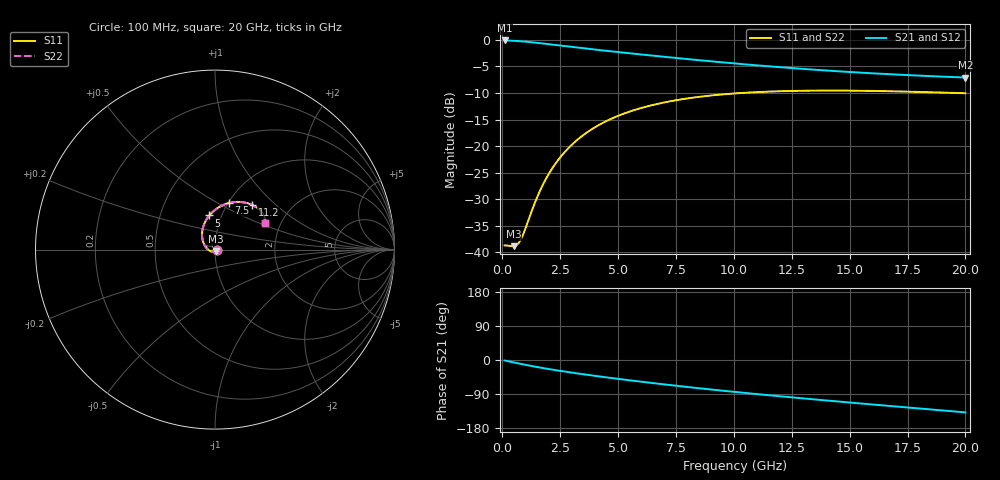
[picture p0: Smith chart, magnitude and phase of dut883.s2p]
! Touchstone file exported from HFSS 2024.1.0
!  File:  C:/UserFiles/LocalFiles/RDL_TSV_Batchsim/temp_RDL_TSV_883_1779930410.aedt
!  Generated:  09:20:59 AM May 28, 2026
!  Design:  RDL_TSV
!  Project:  temp_RDL_TSV_883_1779930410
!  Setup:  Setup1
!  Solution:  Sweep
! Variables:
!  dtsv = 8.72um
!  hbump = 3um
!  htsv = 86.5um
!  ldown = 214.37um
!  lrdl = 247.26um
!  p = 40
!  p1 = 54.16um
!  rhole = 10um
!  subl = 1632.15um
!  t = 450um
!  tdown = 3.26um
!  trdl = 2.01um
!  viad = 10um
!  wdown = 26.71um
!  wrdl = 22.74um
!  xbump = 18um
# GHz S MA R 50.000000
! Terminal data exported
! Port[1] = TM1_1_T1
! Port[2] = TM1_4_T1
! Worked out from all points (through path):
!   200 points, 100 MHz to 20 GHz, reference 50 ohm
!   highest |S21| = -0.11 dB at 100 MHz (marker M1); lowest = -7.1 dB at 20 GHz (marker M2)
!   group delay of S21, straight-line fit = 18 ps
!   lowest |S11| = -38.8 dB at 500 MHz (marker M3), VSWR 1.02, Z = 50.6 - j0.963 ohm
!   |S11| at or under -10 dB: start of sweep to 10.31 GHz; 19.66 GHz to end of sweep
!   |S22| runs from -38.8 to -9.6 dB; largest |S21 - S12| = 1.8e-14
!   S11 on the Smith chart (normalised r, x): 100 MHz: 1.02, -0.00; 5 GHz: 0.87, +0.35; 7.5 GHz: 1.01, +0.56; 11.2 GHz: 1.30, +0.72; 20 GHz: 1.65, +0.55
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0.1  0.01163 -9.3  0.988 -1.3  0.988 -1.3  0.01163 -9.3
! Gamma 0 0 0 0
! Port Impedance 50 0 50 0
0.5  0.01143 -56.3  0.9805 -6.6  0.9805 -6.6  0.01144 -56.3
0.7  0.01219 -86.8  0.9742 -9.1  0.9742 -9.1  0.01219 -86.7
0.8  0.01321 -102.1  0.9706 -10.4  0.9706 -10.4  0.01321 -102.0
0.9  0.01475 -116.4  0.9667 -11.6  0.9667 -11.6  0.01475 -116.3
1.5  0.03281 -171.7  0.9382 -18.5  0.9382 -18.5  0.03277 -171.7
1.8  0.04534 172.6  0.9222 -21.8  0.9222 -21.8  0.04528 172.6
2.1  0.05907 160.4  0.9059 -24.8  0.9059 -24.8  0.05897 160.4
2.4  0.07348 150.4  0.8896 -27.8  0.8896 -27.8  0.07335 150.4
2.7  0.0882 141.8  0.8737 -30.6  0.8737 -30.6  0.08805 141.9
3.1  0.1079 132.1  0.8532 -34.2  0.8532 -34.2  0.1077 132.1
3.5  0.1272 123.6  0.8338 -37.7  0.8338 -37.7  0.127 123.6
4.2  0.1594 111.2  0.8018 -43.5  0.8018 -43.5  0.1591 111.2
5  0.1927 99.6  0.768 -49.8  0.768 -49.8  0.1923 99.6
5.8  0.2219 89.9  0.7365 -55.8  0.7365 -55.8  0.2214 89.9
6.8  0.2526 79.7  0.6998 -63.1  0.6998 -63.1  0.252 79.7
7.5  0.2703 73.5  0.6759 -67.9  0.6759 -67.9  0.2697 73.5
10.1  0.314 55.8  0.5984 -84.6  0.5984 -84.6  0.3132 55.8
11.2  0.3239 50.2  0.571 -91.2  0.571 -91.2  0.3231 50.1
13.4  0.333 41.2  0.5253 -103.6  0.5253 -103.6  0.3321 41.2
16.7  0.3288 32.4  0.4755 -121.2  0.4755 -121.2  0.3278 32.4
20  0.3147 28.3  0.4422 -138.2  0.4422 -138.2  0.3137 28.3
